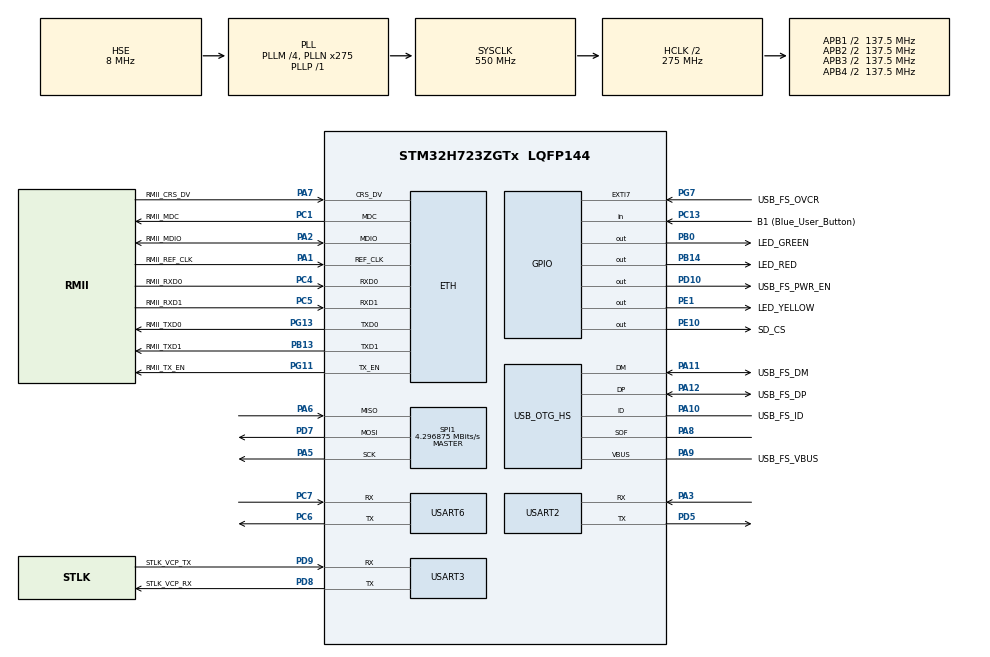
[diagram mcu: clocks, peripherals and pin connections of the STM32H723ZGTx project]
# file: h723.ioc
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Dma.Request0=USART3_RX
Dma.Request1=USART2_RX
Dma.USART2_RX.1.Direction=DMA_PERIPH_TO_MEMORY
Dma.USART2_RX.1.EventEnable=DISABLE
Dma.USART2_RX.1.FIFOMode=DMA_FIFOMODE_DISABLE
Dma.USART2_RX.1.Instance=DMA1_Stream1
Dma.USART2_RX.1.MemDataAlignment=DMA_MDATAALIGN_BYTE
Dma.USART2_RX.1.MemInc=DMA_MINC_ENABLE
Dma.USART2_RX.1.Mode=DMA_CIRCULAR
Dma.USART2_RX.1.PeriphDataAlignment=DMA_PDATAALIGN_BYTE
Dma.USART2_RX.1.PeriphInc=DMA_PINC_DISABLE
Dma.USART2_RX.1.Polarity=HAL_DMAMUX_REQ_GEN_RISING
Dma.USART2_RX.1.Priority=DMA_PRIORITY_LOW
Dma.USART2_RX.1.RequestNumber=1
Dma.USART2_RX.1.SignalID=NONE
Dma.USART2_RX.1.SyncEnable=DISABLE
Dma.USART2_RX.1.SyncPolarity=HAL_DMAMUX_SYNC_NO_EVENT
Dma.USART2_RX.1.SyncRequestNumber=1
Dma.USART2_RX.1.SyncSignalID=NONE
Dma.USART3_RX.0.Direction=DMA_PERIPH_TO_MEMORY
Dma.USART3_RX.0.EventEnable=DISABLE
Dma.USART3_RX.0.FIFOMode=DMA_FIFOMODE_DISABLE
Dma.USART3_RX.0.Instance=DMA1_Stream0
Dma.USART3_RX.0.MemDataAlignment=DMA_MDATAALIGN_BYTE
Dma.USART3_RX.0.MemInc=DMA_MINC_ENABLE
Dma.USART3_RX.0.Mode=DMA_CIRCULAR
Dma.USART3_RX.0.PeriphDataAlignment=DMA_PDATAALIGN_BYTE
Dma.USART3_RX.0.PeriphInc=DMA_PINC_DISABLE
Dma.USART3_RX.0.Polarity=HAL_DMAMUX_REQ_GEN_RISING
Dma.USART3_RX.0.Priority=DMA_PRIORITY_LOW
Dma.USART3_RX.0.RequestNumber=1
Dma.USART3_RX.0.SignalID=NONE
Dma.USART3_RX.0.SyncEnable=DISABLE
Dma.USART3_RX.0.SyncPolarity=HAL_DMAMUX_SYNC_NO_EVENT
Dma.USART3_RX.0.SyncRequestNumber=1
Dma.USART3_RX.0.SyncSignalID=NONE
ETH.MediaInterface=HAL_ETH_RMII_MODE
FATFS._MAX_SS=4096
FATFS._USE_LFN=1
Mcu.Family=STM32H7
Mcu.Name=STM32H723ZGTx
Mcu.Package=LQFP144
NVIC.DMA1_Stream0_IRQn=true\:0\:0\:false\:false\:true\:false\:true\:true
NVIC.DMA1_Stream1_IRQn=true\:0\:0\:false\:false\:true\:false\:true\:true
NVIC.PriorityGroup=NVIC_PRIORITYGROUP_4
NVIC.TIM1_UP_IRQn=true\:15\:0\:false\:false\:true\:false\:true\:true
NVIC.TimeBase=TIM1_UP_IRQn
NVIC.TimeBaseIP=TIM1
NVIC.USART2_IRQn=true\:5\:0\:true\:false\:true\:true\:true\:true
NVIC.USART3_IRQn=true\:5\:0\:true\:false\:true\:true\:true\:true
NVIC.USART6_IRQn=true\:5\:0\:true\:false\:true\:true\:true\:true
PA1.GPIO_Label=RMII_REF_CLK
PA1.Mode=RMII
PA1.Signal=ETH_REF_CLK
PA10.GPIO_Label=USB_FS_ID
PA10.Mode=OTG/Dual-Role-Device-FS
PA10.Signal=USB_OTG_HS_ID
PA11.GPIO_Label=USB_FS_DM
PA11.Mode=OTG/Dual-Role-Device-FS
PA11.Signal=USB_OTG_HS_DM
PA12.GPIO_Label=USB_FS_DP
PA12.Mode=OTG/Dual-Role-Device-FS
PA12.Signal=USB_OTG_HS_DP
PA13(JTMS/SWDIO).GPIO_Label=SWDIO
PA13(JTMS/SWDIO).Mode=Trace_Asynchronous_SW
PA13(JTMS/SWDIO).Signal=DEBUG_JTMS-SWDIO
PA14(JTCK/SWCLK).GPIO_Label=SWCLK
PA14(JTCK/SWCLK).Mode=Trace_Asynchronous_SW
PA14(JTCK/SWCLK).Signal=DEBUG_JTCK-SWCLK
PA2.GPIO_Label=RMII_MDIO
PA2.Mode=RMII
PA2.Signal=ETH_MDIO
PA3.Mode=Asynchronous
PA3.Signal=USART2_RX
PA5.Mode=Full_Duplex_Master
PA5.Signal=SPI1_SCK
PA6.Mode=Full_Duplex_Master
PA6.Signal=SPI1_MISO
PA7.GPIO_Label=RMII_CRS_DV
PA7.Mode=RMII
PA7.Signal=ETH_CRS_DV
PA8.Mode=Activate_SOF_FS
PA8.Signal=USB_OTG_HS_SOF
PA9.GPIO_Label=USB_FS_VBUS
PA9.Mode=Activate_VBUS_FS
PA9.Signal=USB_OTG_HS_VBUS
PB0.GPIO_Label=LED_GREEN
PB0.Signal=GPIO_Output
PB13.GPIO_Label=RMII_TXD1
PB13.Mode=RMII
PB13.Signal=ETH_TXD1
PB14.GPIO_Label=LED_RED
PB14.Signal=GPIO_Output
PB3(JTDO/TRACESWO).GPIO_Label=SWO
PB3(JTDO/TRACESWO).Mode=Trace_Asynchronous_SW
PB3(JTDO/TRACESWO).Signal=DEBUG_JTDO-SWO
PC1.GPIO_Label=RMII_MDC
PC1.Mode=RMII
PC1.Signal=ETH_MDC
PC13.GPIO_Label=B1 (Blue_User_Button)
PC13.Signal=GPIO_Input
PC14-OSC32_IN.Mode=LSE-External-Oscillator
PC14-OSC32_IN.Signal=RCC_OSC32_IN
PC15-OSC32_OUT.Mode=LSE-External-Oscillator
PC15-OSC32_OUT.Signal=RCC_OSC32_OUT
PC4.GPIO_Label=RMII_RXD0
PC4.Mode=RMII
PC4.Signal=ETH_RXD0
PC5.GPIO_Label=RMII_RXD1
PC5.Mode=RMII
PC5.Signal=ETH_RXD1
PC6.Mode=Asynchronous
PC6.Signal=USART6_TX
PC7.Mode=Asynchronous
PC7.Signal=USART6_RX
PD10.GPIO_Label=USB_FS_PWR_EN
PD10.Signal=GPIO_Output
PD5.Mode=Asynchronous
PD5.Signal=USART2_TX
PD7.Mode=Full_Duplex_Master
PD7.Signal=SPI1_MOSI
PD8.GPIO_Label=STLK_VCP_RX
PD8.Mode=Asynchronous
PD8.Signal=USART3_TX
PD9.GPIO_Label=STLK_VCP_TX
PD9.Mode=Asynchronous
PD9.Signal=USART3_RX
PE1.GPIO_Label=LED_YELLOW
PE1.Signal=GPIO_Output
PE10.GPIO_Label=SD_CS
PE10.PinState=GPIO_PIN_SET
PE10.Signal=GPIO_Output
PG11.GPIO_Label=RMII_TX_EN
PG11.Mode=RMII
PG11.Signal=ETH_TX_EN
PG13.GPIO_Label=RMII_TXD0
PG13.Mode=RMII
PG13.Signal=ETH_TXD0
PG7.GPIO_Label=USB_FS_OVCR
PG7.Signal=GPXTI7
PH0-OSC_IN.GPIO_Label=MCO
PH0-OSC_IN.Mode=HSE-External-Clock-Source
PH0-OSC_IN.Signal=RCC_OSC_IN
PH1-OSC_OUT.Signal=RCC_OSC_OUT
ProjectManager.HeapSize=0x200
ProjectManager.StackSize=0x400
ProjectManager.TargetToolchain=Makefile
RCC.ADCFreq_Value=76000000
RCC.APB1Freq_Value=137500000
RCC.APB2Freq_Value=137500000
RCC.APB3Freq_Value=137500000
RCC.APB4Freq_Value=137500000
RCC.CortexFreq_Value=550000000
RCC.D1PPRE=RCC_APB3_DIV2
RCC.D2PPRE1=RCC_APB1_DIV2
RCC.D2PPRE2=RCC_APB2_DIV2
RCC.D3PPRE=RCC_APB4_DIV2
RCC.DIVM1=4
RCC.DIVM2=1
RCC.DIVN1=275
RCC.DIVN2=19
RCC.DIVP1=1
RCC.DIVQ1=4
RCC.HCLKFreq_Value=275000000
RCC.HPRE=RCC_HCLK_DIV2
RCC.HSE_VALUE=8000000
RCC.PLLFRACN=0
RCC.PLLSourceVirtual=RCC_PLLSOURCE_HSE
RCC.SYSCLKFreq_VALUE=550000000
RCC.SYSCLKSource=RCC_SYSCLKSOURCE_PLLCLK
RCC.USBCLockSelection=RCC_USBCLKSOURCE_HSI48
RCC.USBFreq_Value=48000000
SPI1.BaudRatePrescaler=SPI_BAUDRATEPRESCALER_32
SPI1.CalculateBaudRate=4.296875 MBits/s
SPI1.Direction=SPI_DIRECTION_2LINES
SPI1.Mode=SPI_MODE_MASTER
SPI1.VirtualType=VM_MASTER
USART2.VirtualMode-Asynchronous=VM_ASYNC
USART3.VirtualMode-Asynchronous=VM_ASYNC
USART6.VirtualMode-Asynchronous=VM_ASYNC
VP_FATFS_VS_Generic.Mode=User_defined
VP_MEMORYMAP_VS_MEMORYMAP.Mode=CurAppReg
VP_SYS_VS_tim1.Mode=TIM1
board=NUCLEO-H723ZG

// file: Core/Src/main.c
/* USER CODE BEGIN Header */
/**
  ******************************************************************************
  * @file           : main.c
  * @brief          : Main program body
  ******************************************************************************
  * @attention
  *
  * Copyright (c) 2024 STMicroelectronics.
  * All rights reserved.
  *
  * This software is licensed under terms that can be found in the LICENSE file
  * in the root directory of this software component.
  * If no LICENSE file comes with this software, it is provided AS-IS.
  *
  ******************************************************************************
  */
/* USER CODE END Header */
#include "main.h"
#include "string.h"
#include "fatfs.h"

/* USER CODE BEGIN Includes */
#include "port_layer.h"
/* USER CODE END Includes */

#if defined ( __ICCARM__ ) /*!< IAR Compiler */
#pragma location=0x30000000
ETH_DMADescTypeDef  DMARxDscrTab[ETH_RX_DESC_CNT]; /* Ethernet Rx DMA Descriptors */
#pragma location=0x30000080
ETH_DMADescTypeDef  DMATxDscrTab[ETH_TX_DESC_CNT]; /* Ethernet Tx DMA Descriptors */

#elif defined ( __CC_ARM )  /* MDK ARM Compiler */

__attribute__((at(0x30000000))) ETH_DMADescTypeDef  DMARxDscrTab[ETH_RX_DESC_CNT]; /* Ethernet Rx DMA Descriptors */
__attribute__((at(0x30000080))) ETH_DMADescTypeDef  DMATxDscrTab[ETH_TX_DESC_CNT]; /* Ethernet Tx DMA Descriptors */

#elif defined ( __GNUC__ ) /* GNU Compiler */

ETH_DMADescTypeDef DMARxDscrTab[ETH_RX_DESC_CNT] __attribute__((section(".RxDecripSection"))); /* Ethernet Rx DMA Descriptors */
ETH_DMADescTypeDef DMATxDscrTab[ETH_TX_DESC_CNT] __attribute__((section(".TxDecripSection")));   /* Ethernet Tx DMA Descriptors */
#endif

ETH_TxPacketConfig TxConfig;

ETH_HandleTypeDef heth;

SPI_HandleTypeDef hspi1;

UART_HandleTypeDef huart2;
UART_HandleTypeDef huart3;
UART_HandleTypeDef huart6;
DMA_HandleTypeDef hdma_usart2_rx;
DMA_HandleTypeDef hdma_usart3_rx;

/* USER CODE BEGIN PV */
TaskHandle_t blink_task_handle1;
StackType_t blink_task_stack1[256];
StaticTask_t blink_task_buffer1;

TaskHandle_t blink_task_handle2;
StackType_t blink_task_stack2[256];
StaticTask_t blink_task_buffer2;

TaskHandle_t uart_task_handle1;
StackType_t uart_task_stack1[256];
StaticTask_t uart_task_buffer1;

uint8_t buff[] = "Hello_World";
/* USER CODE END PV */

void SystemClock_Config(void);
static void MX_GPIO_Init(void);
static void MX_DMA_Init(void);
static void MX_ETH_Init(void);
static void MX_USART3_UART_Init(void);
static void MX_USB_OTG_HS_USB_Init(void);
static void MX_USART2_UART_Init(void);
static void MX_USART6_UART_Init(void);
static void MX_SPI1_Init(void);
/* USER CODE BEGIN PFP */
static void blink_task1(void *args);
static void blink_task2(void *args);
static void uart_task1(void *args);
/* USER CODE END PFP */

int main(void)
{

  /* MCU Configuration--------------------------------------------------------*/

  /* Reset of all peripherals, Initializes the Flash interface and the Systick. */
  HAL_Init();

  /* Configure the system clock */
  SystemClock_Config();

  /* Initialize all configured peripherals */
  MX_GPIO_Init();
  MX_DMA_Init();
  MX_ETH_Init();
  MX_USART3_UART_Init();
  MX_USB_OTG_HS_USB_Init();
  MX_FATFS_Init();
  MX_USART2_UART_Init();
  MX_USART6_UART_Init();
  MX_SPI1_Init();
  /* USER CODE BEGIN 2 */
  blink_task_handle1 = xTaskCreateStatic(blink_task1, "blink1", 256, NULL, tskIDLE_PRIORITY, blink_task_stack1, &blink_task_buffer1);
  blink_task_handle2 = xTaskCreateStatic(blink_task2, "blink2", 256, NULL, tskIDLE_PRIORITY, blink_task_stack2, &blink_task_buffer2);
  uart_task_handle1 = xTaskCreateStatic(uart_task1, "uart1", 256, NULL, tskIDLE_PRIORITY, uart_task_stack1, &uart_task_buffer1);
  /* USER CODE END 2 */

  /* Infinite loop */
  /* USER CODE BEGIN WHILE */
  vTaskStartScheduler();
  while (1)
  {
    /* USER CODE END WHILE */

  }
}

void SystemClock_Config(void)
{
  RCC_OscInitTypeDef RCC_OscInitStruct = {0};
  RCC_ClkInitTypeDef RCC_ClkInitStruct = {0};

  /** Supply configuration update enable
  */
  HAL_PWREx_ConfigSupply(PWR_LDO_SUPPLY);

  /** Configure the main internal regulator output voltage
  */
  __HAL_PWR_VOLTAGESCALING_CONFIG(PWR_REGULATOR_VOLTAGE_SCALE0);

  while(!__HAL_PWR_GET_FLAG(PWR_FLAG_VOSRDY)) {}

  /** Initializes the RCC Oscillators according to the specified parameters
  * in the RCC_OscInitTypeDef structure.
  */
  RCC_OscInitStruct.OscillatorType = RCC_OSCILLATORTYPE_HSI48|RCC_OSCILLATORTYPE_HSE;
  RCC_OscInitStruct.HSEState = RCC_HSE_BYPASS;
  RCC_OscInitStruct.HSI48State = RCC_HSI48_ON;
  RCC_OscInitStruct.PLL.PLLState = RCC_PLL_ON;
  RCC_OscInitStruct.PLL.PLLSource = RCC_PLLSOURCE_HSE;
  RCC_OscInitStruct.PLL.PLLM = 4;
  RCC_OscInitStruct.PLL.PLLN = 275;
  RCC_OscInitStruct.PLL.PLLP = 1;
  RCC_OscInitStruct.PLL.PLLQ = 4;
  RCC_OscInitStruct.PLL.PLLR = 2;
  RCC_OscInitStruct.PLL.PLLRGE = RCC_PLL1VCIRANGE_1;
  RCC_OscInitStruct.PLL.PLLVCOSEL = RCC_PLL1VCOWIDE;
  RCC_OscInitStruct.PLL.PLLFRACN = 0;
  if (HAL_RCC_OscConfig(&RCC_OscInitStruct) != HAL_OK)
  {
    Error_Handler();
  }

  /** Initializes the CPU, AHB and APB buses clocks
  */
  RCC_ClkInitStruct.ClockType = RCC_CLOCKTYPE_HCLK|RCC_CLOCKTYPE_SYSCLK
                              |RCC_CLOCKTYPE_PCLK1|RCC_CLOCKTYPE_PCLK2
                              |RCC_CLOCKTYPE_D3PCLK1|RCC_CLOCKTYPE_D1PCLK1;
  RCC_ClkInitStruct.SYSCLKSource = RCC_SYSCLKSOURCE_PLLCLK;
  RCC_ClkInitStruct.SYSCLKDivider = RCC_SYSCLK_DIV1;
  RCC_ClkInitStruct.AHBCLKDivider = RCC_HCLK_DIV2;
  RCC_ClkInitStruct.APB3CLKDivider = RCC_APB3_DIV2;
  RCC_ClkInitStruct.APB1CLKDivider = RCC_APB1_DIV2;
  RCC_ClkInitStruct.APB2CLKDivider = RCC_APB2_DIV2;
  RCC_ClkInitStruct.APB4CLKDivider = RCC_APB4_DIV2;

  if (HAL_RCC_ClockConfig(&RCC_ClkInitStruct, FLASH_LATENCY_3) != HAL_OK)
  {
    Error_Handler();
  }
}

static void MX_ETH_Init(void)
{

   static uint8_t MACAddr[6];

  heth.Instance = ETH;
  MACAddr[0] = 0x00;
  MACAddr[1] = 0x80;
  MACAddr[2] = 0xE1;
  MACAddr[3] = 0x00;
  MACAddr[4] = 0x00;
  MACAddr[5] = 0x00;
  heth.Init.MACAddr = &MACAddr[0];
  heth.Init.MediaInterface = HAL_ETH_RMII_MODE;
  heth.Init.TxDesc = DMATxDscrTab;
  heth.Init.RxDesc = DMARxDscrTab;
  heth.Init.RxBuffLen = 1524;

  if (HAL_ETH_Init(&heth) != HAL_OK)
  {
    Error_Handler();
  }

  memset(&TxConfig, 0 , sizeof(ETH_TxPacketConfig));
  TxConfig.Attributes = ETH_TX_PACKETS_FEATURES_CSUM | ETH_TX_PACKETS_FEATURES_CRCPAD;
  TxConfig.ChecksumCtrl = ETH_CHECKSUM_IPHDR_PAYLOAD_INSERT_PHDR_CALC;
  TxConfig.CRCPadCtrl = ETH_CRC_PAD_INSERT;

}

static void MX_SPI1_Init(void)
{

  /* SPI1 parameter configuration*/
  hspi1.Instance = SPI1;
  hspi1.Init.Mode = SPI_MODE_MASTER;
  hspi1.Init.Direction = SPI_DIRECTION_2LINES;
  hspi1.Init.DataSize = SPI_DATASIZE_4BIT;
  hspi1.Init.CLKPolarity = SPI_POLARITY_LOW;
  hspi1.Init.CLKPhase = SPI_PHASE_1EDGE;
  hspi1.Init.NSS = SPI_NSS_SOFT;
  hspi1.Init.BaudRatePrescaler = SPI_BAUDRATEPRESCALER_32;
  hspi1.Init.FirstBit = SPI_FIRSTBIT_MSB;
  hspi1.Init.TIMode = SPI_TIMODE_DISABLE;
  hspi1.Init.CRCCalculation = SPI_CRCCALCULATION_DISABLE;
  hspi1.Init.CRCPolynomial = 0x0;
  hspi1.Init.NSSPMode = SPI_NSS_PULSE_ENABLE;
  hspi1.Init.NSSPolarity = SPI_NSS_POLARITY_LOW;
  hspi1.Init.FifoThreshold = SPI_FIFO_THRESHOLD_01DATA;
  hspi1.Init.TxCRCInitializationPattern = SPI_CRC_INITIALIZATION_ALL_ZERO_PATTERN;
  hspi1.Init.RxCRCInitializationPattern = SPI_CRC_INITIALIZATION_ALL_ZERO_PATTERN;
  hspi1.Init.MasterSSIdleness = SPI_MASTER_SS_IDLENESS_00CYCLE;
  hspi1.Init.MasterInterDataIdleness = SPI_MASTER_INTERDATA_IDLENESS_00CYCLE;
  hspi1.Init.MasterReceiverAutoSusp = SPI_MASTER_RX_AUTOSUSP_DISABLE;
  hspi1.Init.MasterKeepIOState = SPI_MASTER_KEEP_IO_STATE_DISABLE;
  hspi1.Init.IOSwap = SPI_IO_SWAP_DISABLE;
  if (HAL_SPI_Init(&hspi1) != HAL_OK)
  {
    Error_Handler();
  }

}

static void MX_USART2_UART_Init(void)
{

  huart2.Instance = USART2;
  huart2.Init.BaudRate = 115200;
  huart2.Init.WordLength = UART_WORDLENGTH_8B;
  huart2.Init.StopBits = UART_STOPBITS_1;
  huart2.Init.Parity = UART_PARITY_NONE;
  huart2.Init.Mode = UART_MODE_TX_RX;
  huart2.Init.HwFlowCtl = UART_HWCONTROL_NONE;
  huart2.Init.OverSampling = UART_OVERSAMPLING_16;
  huart2.Init.OneBitSampling = UART_ONE_BIT_SAMPLE_DISABLE;
  huart2.Init.ClockPrescaler = UART_PRESCALER_DIV1;
  huart2.AdvancedInit.AdvFeatureInit = UART_ADVFEATURE_NO_INIT;
  if (HAL_UART_Init(&huart2) != HAL_OK)
  {
    Error_Handler();
  }
  if (HAL_UARTEx_SetTxFifoThreshold(&huart2, UART_TXFIFO_THRESHOLD_1_8) != HAL_OK)
  {
    Error_Handler();
  }
  if (HAL_UARTEx_SetRxFifoThreshold(&huart2, UART_RXFIFO_THRESHOLD_1_8) != HAL_OK)
  {
    Error_Handler();
  }
  if (HAL_UARTEx_DisableFifoMode(&huart2) != HAL_OK)
  {
    Error_Handler();
  }

}

static void MX_USART3_UART_Init(void)
{

  huart3.Instance = USART3;
  huart3.Init.BaudRate = 115200;
  huart3.Init.WordLength = UART_WORDLENGTH_8B;
  huart3.Init.StopBits = UART_STOPBITS_1;
  huart3.Init.Parity = UART_PARITY_NONE;
  huart3.Init.Mode = UART_MODE_TX_RX;
  huart3.Init.HwFlowCtl = UART_HWCONTROL_NONE;
  huart3.Init.OverSampling = UART_OVERSAMPLING_16;
  huart3.Init.OneBitSampling = UART_ONE_BIT_SAMPLE_DISABLE;
  huart3.Init.ClockPrescaler = UART_PRESCALER_DIV1;
  huart3.AdvancedInit.AdvFeatureInit = UART_ADVFEATURE_NO_INIT;
  if (HAL_UART_Init(&huart3) != HAL_OK)
  {
    Error_Handler();
  }
  if (HAL_UARTEx_SetTxFifoThreshold(&huart3, UART_TXFIFO_THRESHOLD_1_8) != HAL_OK)
  {
    Error_Handler();
  }
  if (HAL_UARTEx_SetRxFifoThreshold(&huart3, UART_RXFIFO_THRESHOLD_1_8) != HAL_OK)
  {
    Error_Handler();
  }
  if (HAL_UARTEx_DisableFifoMode(&huart3) != HAL_OK)
  {
    Error_Handler();
  }

}

static void MX_USART6_UART_Init(void)
{

  huart6.Instance = USART6;
  huart6.Init.BaudRate = 115200;
  huart6.Init.WordLength = UART_WORDLENGTH_8B;
  huart6.Init.StopBits = UART_STOPBITS_1;
  huart6.Init.Parity = UART_PARITY_NONE;
  huart6.Init.Mode = UART_MODE_TX_RX;
  huart6.Init.HwFlowCtl = UART_HWCONTROL_NONE;
  huart6.Init.OverSampling = UART_OVERSAMPLING_16;
  huart6.Init.OneBitSampling = UART_ONE_BIT_SAMPLE_DISABLE;
  huart6.Init.ClockPrescaler = UART_PRESCALER_DIV1;
  huart6.AdvancedInit.AdvFeatureInit = UART_ADVFEATURE_NO_INIT;
  if (HAL_UART_Init(&huart6) != HAL_OK)
  {
    Error_Handler();
  }
  if (HAL_UARTEx_SetTxFifoThreshold(&huart6, UART_TXFIFO_THRESHOLD_1_8) != HAL_OK)
  {
    Error_Handler();
  }
  if (HAL_UARTEx_SetRxFifoThreshold(&huart6, UART_RXFIFO_THRESHOLD_1_8) != HAL_OK)
  {
    Error_Handler();
  }
  if (HAL_UARTEx_DisableFifoMode(&huart6) != HAL_OK)
  {
    Error_Handler();
  }

}

static void MX_USB_OTG_HS_USB_Init(void)
{

}

static void MX_DMA_Init(void)
{

  /* DMA controller clock enable */
  __HAL_RCC_DMA1_CLK_ENABLE();

  /* DMA interrupt init */
  /* DMA1_Stream0_IRQn interrupt configuration */
  HAL_NVIC_SetPriority(DMA1_Stream0_IRQn, 0, 0);
  HAL_NVIC_EnableIRQ(DMA1_Stream0_IRQn);
  /* DMA1_Stream1_IRQn interrupt configuration */
  HAL_NVIC_SetPriority(DMA1_Stream1_IRQn, 0, 0);
  HAL_NVIC_EnableIRQ(DMA1_Stream1_IRQn);

}

static void MX_GPIO_Init(void)
{
  GPIO_InitTypeDef GPIO_InitStruct = {0};

  /* GPIO Ports Clock Enable */
  __HAL_RCC_GPIOC_CLK_ENABLE();
  __HAL_RCC_GPIOH_CLK_ENABLE();
  __HAL_RCC_GPIOA_CLK_ENABLE();
  __HAL_RCC_GPIOB_CLK_ENABLE();
  __HAL_RCC_GPIOE_CLK_ENABLE();
  __HAL_RCC_GPIOD_CLK_ENABLE();
  __HAL_RCC_GPIOG_CLK_ENABLE();

  /*Configure GPIO pin Output Level */
  HAL_GPIO_WritePin(GPIOB, LED_GREEN_Pin|LED_RED_Pin, GPIO_PIN_RESET);

  /*Configure GPIO pin Output Level */
  HAL_GPIO_WritePin(SD_CS_GPIO_Port, SD_CS_Pin, GPIO_PIN_SET);

  /*Configure GPIO pin Output Level */
  HAL_GPIO_WritePin(USB_FS_PWR_EN_GPIO_Port, USB_FS_PWR_EN_Pin, GPIO_PIN_RESET);

  /*Configure GPIO pin Output Level */
  HAL_GPIO_WritePin(LED_YELLOW_GPIO_Port, LED_YELLOW_Pin, GPIO_PIN_RESET);

  /*Configure GPIO pin : B1_Pin */
  GPIO_InitStruct.Pin = B1_Pin;
  GPIO_InitStruct.Mode = GPIO_MODE_INPUT;
  GPIO_InitStruct.Pull = GPIO_NOPULL;
  HAL_GPIO_Init(B1_GPIO_Port, &GPIO_InitStruct);

  /*Configure GPIO pins : LED_GREEN_Pin LED_RED_Pin */
  GPIO_InitStruct.Pin = LED_GREEN_Pin|LED_RED_Pin;
  GPIO_InitStruct.Mode = GPIO_MODE_OUTPUT_PP;
  GPIO_InitStruct.Pull = GPIO_NOPULL;
  GPIO_InitStruct.Speed = GPIO_SPEED_FREQ_LOW;
  HAL_GPIO_Init(GPIOB, &GPIO_InitStruct);

  /*Configure GPIO pins : SD_CS_Pin LED_YELLOW_Pin */
  GPIO_InitStruct.Pin = SD_CS_Pin|LED_YELLOW_Pin;
  GPIO_InitStruct.Mode = GPIO_MODE_OUTPUT_PP;
  GPIO_InitStruct.Pull = GPIO_NOPULL;
  GPIO_InitStruct.Speed = GPIO_SPEED_FREQ_LOW;
  HAL_GPIO_Init(GPIOE, &GPIO_InitStruct);

  /*Configure GPIO pin : USB_FS_PWR_EN_Pin */
  GPIO_InitStruct.Pin = USB_FS_PWR_EN_Pin;
  GPIO_InitStruct.Mode = GPIO_MODE_OUTPUT_PP;
  GPIO_InitStruct.Pull = GPIO_NOPULL;
  GPIO_InitStruct.Speed = GPIO_SPEED_FREQ_LOW;
  HAL_GPIO_Init(USB_FS_PWR_EN_GPIO_Port, &GPIO_InitStruct);

  /*Configure GPIO pin : USB_FS_OVCR_Pin */
  GPIO_InitStruct.Pin = USB_FS_OVCR_Pin;
  GPIO_InitStruct.Mode = GPIO_MODE_IT_RISING;
  GPIO_InitStruct.Pull = GPIO_NOPULL;
  HAL_GPIO_Init(USB_FS_OVCR_GPIO_Port, &GPIO_InitStruct);

  /*Configure GPIO pins : PA8 USB_FS_ID_Pin */
  GPIO_InitStruct.Pin = GPIO_PIN_8|USB_FS_ID_Pin;
  GPIO_InitStruct.Mode = GPIO_MODE_AF_PP;
  GPIO_InitStruct.Pull = GPIO_NOPULL;
  GPIO_InitStruct.Speed = GPIO_SPEED_FREQ_LOW;
  GPIO_InitStruct.Alternate = GPIO_AF10_OTG1_HS;
  HAL_GPIO_Init(GPIOA, &GPIO_InitStruct);

  /*Configure GPIO pin : USB_FS_VBUS_Pin */
  GPIO_InitStruct.Pin = USB_FS_VBUS_Pin;
  GPIO_InitStruct.Mode = GPIO_MODE_INPUT;
  GPIO_InitStruct.Pull = GPIO_NOPULL;
  HAL_GPIO_Init(USB_FS_VBUS_GPIO_Port, &GPIO_InitStruct);

}

/* USER CODE BEGIN 4 */
static void blink_task1(void *args) {
  while(1) {
    vTaskDelay(1000);
    HAL_GPIO_TogglePin(LED_GREEN_GPIO_Port, LED_GREEN_Pin);
  }
}

static void blink_task2(void *args) {
  while(1) {
    vTaskDelay(300);
    HAL_GPIO_TogglePin(LED_GREEN_GPIO_Port, LED_GREEN_Pin);
  }
}

static void uart_task1(void *args) {
  while(1) {
    vTaskDelay(1000);
    HAL_UART_Transmit(&huart3, buff, sizeof(buff), 1000);
  }
}

void HAL_UART_TxCpltCallback(UART_HandleTypeDef *huart) {
  HAL_GPIO_TogglePin(GPIOB, GPIO_PIN_14);
}
/* USER CODE END 4 */

void HAL_TIM_PeriodElapsedCallback(TIM_HandleTypeDef *htim)
{
  if (htim->Instance == TIM1) {
    HAL_IncTick();
  }
}

void Error_Handler(void)
{
  __disable_irq();
  while (1)
  {
  }
}
